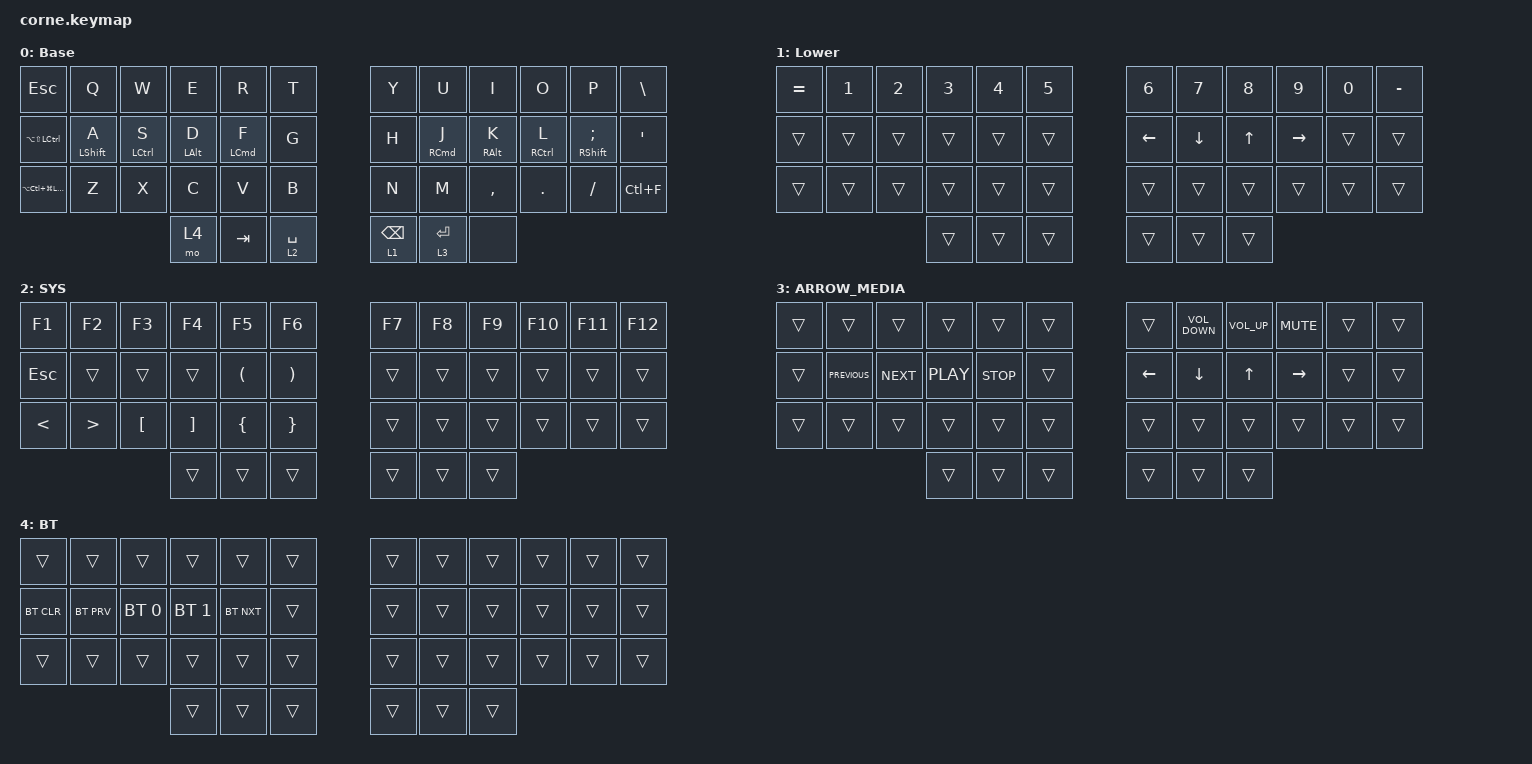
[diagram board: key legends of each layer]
/*
 * Copyright (c) 2020 The ZMK Contributors
 *
 * SPDX-License-Identifier: MIT
 */

#include <behaviors.dtsi>
#include <dt-bindings/zmk/bt.h>
#include <dt-bindings/zmk/keys.h>

/ {
    behaviors {
        HOME_MODS_RIGHT: HOME_MODS_RIGHT {
            compatible = "zmk,behavior-hold-tap";
            label = "HOME_MODS_RIGHT";
            bindings = <&kp>, <&kp>;

            #binding-cells = <2>;
            tapping-term-ms = <200>;
            flavor = "balanced";
        };

        HOME_ROW_LEFT: HOME_ROW_LEFT {
            compatible = "zmk,behavior-hold-tap";
            label = "HOME_ROW_LEFT";
            bindings = <&kp>, <&kp>;

            #binding-cells = <2>;
            tapping-term-ms = <200>;
            flavor = "balanced";
        };

        THUMB_MOD: THUMB_MOD {
            compatible = "zmk,behavior-hold-tap";
            label = "THUMB_MOD";
            bindings = <&mo>, <&kp>;

            #binding-cells = <2>;
            tapping-term-ms = <200>;
            flavor = "tap-preferred";
            hold-while-undecided;
            quick-tap-ms = <200>;
        };
    };

    combos {
        compatible = "zmk,combos";

        ESC_COMBO {
            bindings = <&kp ESCAPE>;
            key-positions = <19 20>;
        };
    };

    keymap {
        compatible = "zmk,keymap";

        default_layer {
            // -----------------------------------------------------------------------------------------
            // |  TAB |  Q  |  W  |  E  |  R  |  T  |   |  Y  |  U   |  I  |  O  |  P  | BKSP |
            // | CTRL |  A  |  S  |  D  |  F  |  G  |   |  H  |  J   |  K  |  L  |  ;  |  '   |
            // | SHFT |  Z  |  X  |  C  |  V  |  B  |   |  N  |  M   |  ,  |  .  |  /  | ESC  |
            //                    | GUI | LWR | SPC |   | ENT | RSE  | ALT |

            display-name = "Base";
            bindings = <
&kp ESCAPE             &kp Q                        &kp W                   &kp E                      &kp R                  &kp T                 &kp Y                   &kp U                    &kp I                         &kp O                     &kp P                              &kp BACKSLASH
&kp LA(LS(LCTRL))      &HOME_ROW_LEFT LEFT_SHIFT A  &HOME_ROW_LEFT LCTRL S  &HOME_ROW_LEFT LEFT_ALT D  &HOME_ROW_LEFT LCMD F  &kp G                 &kp H                   &HOME_MODS_RIGHT RCMD J  &HOME_MODS_RIGHT RIGHT_ALT K  &HOME_MODS_RIGHT RCTRL L  &HOME_MODS_RIGHT RIGHT_SHIFT SEMI  &kp SQT
&kp LA(LC(LG(LSHFT)))  &kp Z                        &kp X                   &kp C                      &kp V                  &kp B                 &kp N                   &kp M                    &kp COMMA                     &kp DOT                   &kp FSLH                           &kp LC(F)
                                                                            &mo 4                      &kp TAB                &THUMB_MOD 2 SPACE    &THUMB_MOD 1 BACKSPACE  &THUMB_MOD 3 ENTER       &none
            >;
        };

        NUMBERS {
            // -----------------------------------------------------------------------------------------
            // |  TAB |  1  |  2  |  3  |  4  |  5  |   |  6  |  7  |  8  |  9  |  0  | BKSP |
            // | BTCLR| BT1 | BT2 | BT3 | BT4 | BT5 |   | LFT | DWN |  UP | RGT |     |      |
            // | SHFT |     |     |     |     |     |   |     |     |     |     |     |      |
            //                    | GUI |     | SPC |   | ENT |     | ALT |

            display-name = "Lower";
            bindings = <
&kp EQUAL  &kp N1  &kp N2  &kp N3  &kp N4  &kp N5    &kp N6    &kp N7    &kp N8  &kp N9     &kp N0  &kp MINUS
&trans     &trans  &trans  &trans  &trans  &trans    &kp LEFT  &kp DOWN  &kp UP  &kp RIGHT  &trans  &trans
&trans     &trans  &trans  &trans  &trans  &trans    &trans    &trans    &trans  &trans     &trans  &trans
                           &trans  &trans  &trans    &trans    &trans    &trans
            >;
        };

        SYS {
            bindings = <
&kp F1         &kp F2            &kp F3    &kp F4    &kp F5                &kp F6                   &kp F7  &kp F8  &kp F9  &kp F10  &kp F11  &kp F12
&kp ESC        &trans            &trans    &trans    &kp LEFT_PARENTHESIS  &kp RIGHT_PARENTHESIS    &trans  &trans  &trans  &trans   &trans   &trans
&kp LESS_THAN  &kp GREATER_THAN  &kp LBKT  &kp RBKT  &kp LEFT_BRACE        &kp RIGHT_BRACE          &trans  &trans  &trans  &trans   &trans   &trans
                                           &trans    &trans                &trans                   &trans  &trans  &trans
            >;
        };

        ARROW_MEDIA {
            bindings = <
&trans  &trans          &trans      &trans      &trans      &trans    &trans          &kp C_VOLUME_DOWN  &kp C_VOLUME_UP  &kp K_MUTE       &trans  &trans
&trans  &kp C_PREVIOUS  &kp C_NEXT  &kp C_PLAY  &kp C_STOP  &trans    &kp LEFT_ARROW  &kp DOWN_ARROW     &kp UP_ARROW     &kp RIGHT_ARROW  &trans  &trans
&trans  &trans          &trans      &trans      &trans      &trans    &trans          &trans             &trans           &trans           &trans  &trans
                                    &trans      &trans      &trans    &trans          &trans             &trans
            >;
        };

        BT {
            bindings = <
&trans      &trans      &trans        &trans        &trans      &trans    &trans  &trans  &trans  &trans  &trans  &trans
&bt BT_CLR  &bt BT_PRV  &bt BT_SEL 0  &bt BT_SEL 1  &bt BT_NXT  &trans    &trans  &trans  &trans  &trans  &trans  &trans
&trans      &trans      &trans        &trans        &trans      &trans    &trans  &trans  &trans  &trans  &trans  &trans
                                      &trans        &trans      &trans    &trans  &trans  &trans
            >;
        };
    };
};
